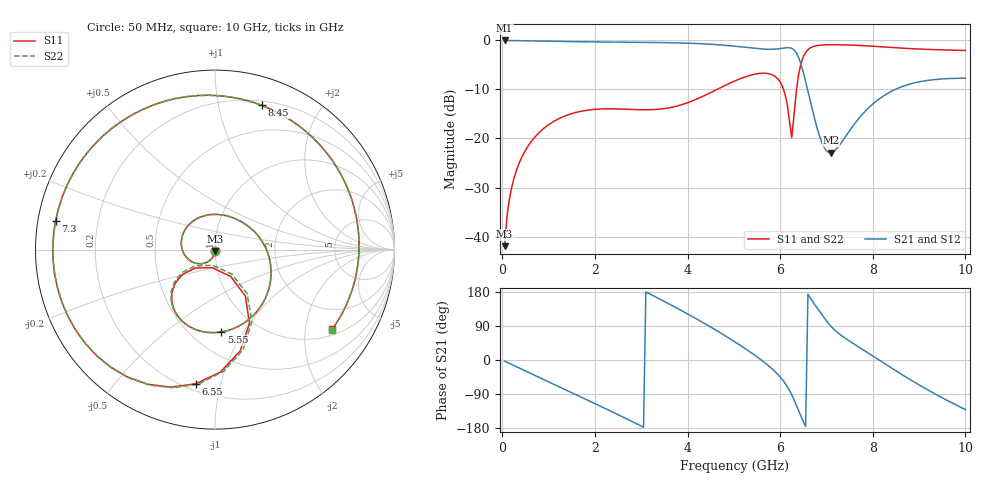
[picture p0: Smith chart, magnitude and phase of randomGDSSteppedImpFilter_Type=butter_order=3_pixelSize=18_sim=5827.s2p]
! freq	dB(S11)	phase(S11)	dB(S12)	phase(S12)
!  dB(S21)	phase(S21)	dB(S22)	phase(S22)
!S-par simulation data
#  GHz  S  DB  R 50
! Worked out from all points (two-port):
!   200 points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, 50 MHz to 10 GHz, reference 50 ohm
!   highest |S21| = 0.00 dB at 50 MHz (marker M1); lowest = -22.9 dB at 7.1 GHz (marker M2)
!   |S21| within 3 dB of the highest: start of sweep to 6.374 GHz
!   lowest |S11| = -42.0 dB at 50 MHz (marker M3), VSWR 1.02, Z = 50 - j0.796 ohm
!   |S11| at or under -10 dB: start of sweep to 4.635 GHz; 6.072 GHz to 6.353 GHz (280.8 MHz wide, 4.52 % of centre)
!   |S22| runs from -42.0 to -0.9 dB; largest |S21 - S12| = 0
!   S11 on the Smith chart (normalised r, x): 50 MHz: 1.00, -0.02; 5.55 GHz: 0.69, -0.80; 6.55 GHz: 0.24, -0.84; 7.3 GHz: 0.05, +0.09; 8.45 GHz: 0.24, +1.35; 10 GHz: 1.20, -2.81
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0.05  -41.97 -92.0  -0.00 -2.9  -0.00 -2.9  -41.97 -92.0
0.2  -30.10 -101.4  -0.02 -11.6  -0.02 -11.6  -30.10 -101.4
0.5  -22.42 -119.4  -0.06 -28.9  -0.06 -28.9  -22.42 -119.5
1.15  -16.31 -156.9  -0.18 -66.1  -0.18 -66.1  -16.31 -157.1
1.75  -14.36 168.7  -0.28 -100.5  -0.28 -100.5  -14.36 168.5
2.65  -14.02 116.3  -0.36 -153.1  -0.36 -153.1  -14.02 115.8
3.4  -14.01 70.3  -0.43 160.9  -0.43 160.9  -14.01 69.8
4.3  -11.53 10.7  -0.67 101.2  -0.67 101.2  -11.53 10.4
5.05  -8.15 -44.5  -1.21 45.7  -1.21 45.7  -8.16 -44.6
5.55  -6.73 -85.6  -1.70 3.9  -1.70 3.9  -6.74 -85.9
6.05  -9.40 -135.1  -1.60 -52.1  -1.60 -52.1  -9.44 -136.4
6.25  -19.85 -98.8  -1.60 -91.8  -1.60 -91.8  -21.09 -98.8
6.4  -6.87 -65.0  -3.52 -134.6  -3.52 -134.6  -6.93 -62.8
6.55  -2.44 -98.1  -8.38 -175.3  -8.38 -175.3  -2.45 -97.0
6.7  -1.30 -124.5  -14.30 154.5  -14.30 154.5  -1.31 -123.6
7.1  -0.88 -171.2  -22.89 88.7  -22.89 88.7  -0.88 -170.8
7.3  -0.89 169.9  -21.13 66.6  -21.13 66.6  -0.89 170.2
7.85  -1.09 121.6  -14.31 22.2  -14.31 22.2  -1.10 121.6
8.35  -1.40 80.0  -10.64 -17.1  -10.64 -17.1  -1.40 79.8
8.45  -1.46 72.0  -10.15 -24.8  -10.15 -24.8  -1.47 71.8
9.2  -1.84 16.3  -8.14 -79.8  -8.14 -79.8  -1.84 15.9
10  -2.06 -34.0  -7.69 -130.8  -7.69 -130.8  -2.06 -34.5
